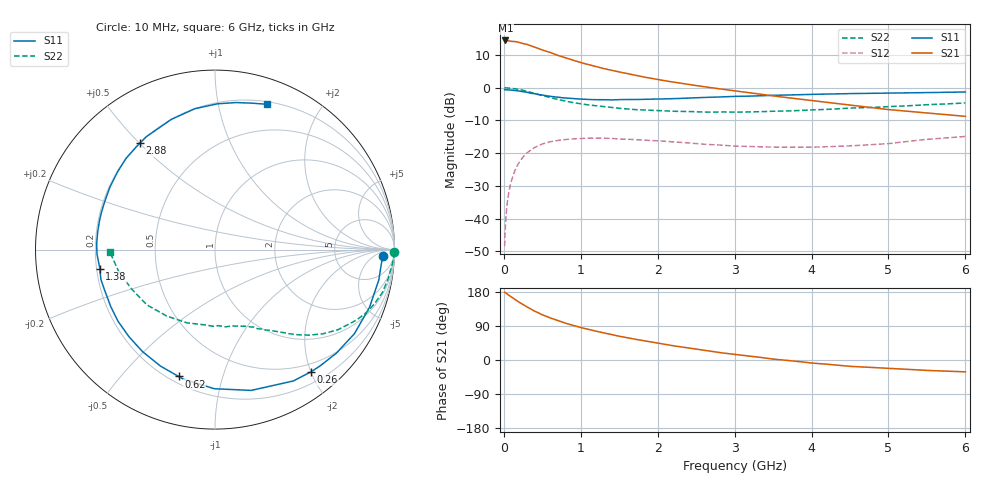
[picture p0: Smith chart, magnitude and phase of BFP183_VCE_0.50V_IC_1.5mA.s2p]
! Infineon Technologies  Discrete & RF Semiconductors
! BFP183
! VCE = 0.50V,  IC =  1.5 mA
! Common Emitter S-Parameters:  Jan 2016
# GHz  S  MA  R  50
!  f  S11  S21  S12  S22
! GHz  MAG  ANG  MAG  ANG  MAG  ANG  MAG  ANG
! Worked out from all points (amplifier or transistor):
!   210 points, 10 MHz to 6 GHz, reference 50 ohm
!   highest |S21| = 14.4 dB at 20 MHz (marker M1)
!   |S21| within 3 dB of that: start of sweep to 512 MHz
!   unconditionally stable (mu >= 1): 2.066 GHz to end of sweep
!   at 185 MHz: K = 0.10, MSG = 18.6 dB, |S12| = -23.4 dB
!   at 1.52 GHz: K = 0.73, MSG = 10.2 dB, |S12| = -15.7 dB
!   at 6 GHz: K = 1.29, MAG = -0.2 dB, |S12| = -14.9 dB
!   S11 on the Smith chart (normalised r, x): 10 MHz: 23, -13; 260 MHz: 0.37, -2.00; 620 MHz: 0.24, -0.73; 1.38 GHz: 0.21, -0.08; 2.88 GHz: 0.20, +0.50; 6 GHz: 0.22, +1.40
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0.01  0.9353 -2.1  5.19 179.0  0.0038 85.5  0.9974 -0.9
0.02  0.9308 -4.4  5.262 177.8  0.0076 82.7  0.9974 -2.0
0.045  0.9279 -9.5  5.233 173.7  0.0177 84.1  0.9914 -4.4
0.09  0.9186 -18.5  5.123 167.4  0.0346 78.0  0.9798 -8.7
0.15  0.9072 -31.1  5.058 158.9  0.0565 71.4  0.9623 -14.5
0.2  0.8889 -40.5  4.906 152.3  0.0727 66.2  0.9388 -18.7
0.26  0.8659 -51.8  4.689 144.8  0.09 59.5  0.9057 -23.5
0.3  0.8521 -59.2  4.59 140.3  0.1009 55.8  0.8803 -26.5
0.4  0.81 -75.6  4.176 128.9  0.1222 46.6  0.8185 -33.0
0.5  0.7751 -90.3  3.765 119.4  0.1381 39.1  0.7611 -38.1
0.62  0.7355 -106.0  3.39 109.8  0.1504 31.6  0.6988 -43.0
0.8  0.6972 -125.4  2.881 97.1  0.1616 22.5  0.6236 -48.7
1.02  0.6688 -145.1  2.382 84.7  0.1679 14.1  0.5624 -53.9
1.1  0.6618 -151.4  2.251 80.4  0.1692 11.8  0.5453 -55.6
1.38  0.6511 -170.5  1.865 68.0  0.1681 4.1  0.5025 -61.4
1.6  0.6601 176.9  1.646 58.9  0.1639 0.2  0.4748 -65.2
2.02  0.67 156.6  1.318 43.8  0.1544 -4.9  0.4452 -73.2
2.88  0.726 125.1  0.935 17.7  0.1313 -7.9  0.4251 -93.9
3.1  0.7388 118.8  0.864 12.4  0.1273 -6.8  0.4241 -100.1
4.1  0.7954 96.2  0.618 -9.5  0.1244 1.8  0.4615 -129.2
5.1  0.8296 80.7  0.452 -23.1  0.1443 9.6  0.5191 -157.3
6  0.8599 70.3  0.365 -31.3  0.1799 7.5  0.585 -178.5
